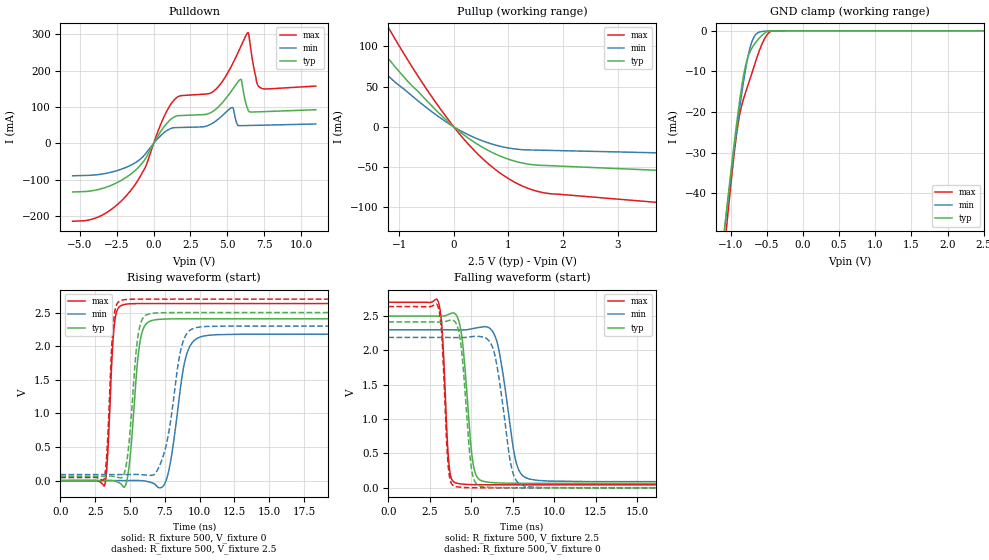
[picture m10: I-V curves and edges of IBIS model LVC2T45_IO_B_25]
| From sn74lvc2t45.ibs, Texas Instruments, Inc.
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[Model]   LVC2T45_IO_B_25
Model_type  I/O
Vinl=0.7
Vinh=1.7
Enable   Active-High
Vref =   0
Rref =   2000
Cref =   15p
Vmeas =   1.25
| variable   typ   min   max
C_comp   6.56pF   5.74pF   7.62pF
| C_pullup   9.85pF   6.87pF   11.31pF
| C_pulldown   9.91pF   7.23pF   14.14pF
| C_tri-state   6.56pF   5.74pF   7.62pF
[Temperature Range]   40   100   -40
| Ambient temperature   25   85   -40
[Voltage range]   2.5   2.3   2.7
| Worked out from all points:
|   slope of the pulldown table from 0 to 0.375 V, typ, clamps not added: 14.3 ohm
|   slope of the pullup table from 0 to 0.375 V, typ, clamps not added: 19.7 ohm
|   GND clamp passes 1 mA (typ) near -0.56 V on its own axis
|   rising waveform, R_fixture 500, V_fixture 0: 20-80 % time 560ps typ, 873ps min, 354ps max; typ from 0 V to 2.41 V
|   falling waveform, R_fixture 500, V_fixture 2.5: 20-80 % time 486ps typ, 790ps min, 307ps max; typ from 2.5 V to 0.066 V
|   rising waveform, R_fixture 500, V_fixture 2.5: 20-80 % time 563ps typ, 959ps min, 352ps max; typ from 0.066 V to 2.5 V
|   falling waveform, R_fixture 500, V_fixture 0: 20-80 % time 469ps typ, 751ps min, 297ps max; typ from 2.41 V to 0 V
[GND Clamp]
| LVC2T45_IO_B_25
|   Voltage   I(typ)   I(min)   I(max)
-5.5V     -897.8mA   -832.4mA   -1.016A
-1.085V   -48.68mA   -48.61mA   -53.3mA
-1.055V   -43.78mA   -44.08mA   -47.81mA
-960mV    -28.9mA    -30.22mA   -31.49mA
-910mV    -21.66mA   -23.34mA   -24.31mA
-860mV    -15.14mA   -16.88mA   -19.23mA
-795mV    -8.582mA   -9.485mA   -15.18mA
-730mV    -5.007mA   -3.989mA   -11.68mA
-680mV    -3.482mA   -1.588mA   -8.92mA
-555mV    -899.1uA   -138.8uA   -2.764mA
-465mV    -17.59uA   -54.37uA   -352.7uA
2.5V      23.44pA    61.78nA    334.7pA
[Pulldown]
| LVC2T45_IO_B_25
|   Voltage   I(typ)   I(min)   I(max)
-5.5V     -133.6mA   -89.06mA   -214.3mA
-3.72V    -126.6mA   -85.59mA   -201.8mA
-2.04V    -97.92mA   -68.67mA   -151.9mA
-585mV    -43.63mA   -30.26mA   -67.28mA
1.275V    69.58mA    42.39mA    113.9mA
4.1V      90.3mA     58.05mA    144.4mA
5.335V    147.4mA    98.53mA    217.2mA
5.885V    175.9mA    48.84mA    263.8mA
6.395V    93.62mA    49.21mA    304.7mA
6.98V     86.65mA    49.71mA    170.1mA
7.19V     86.94mA    49.89mA    154.5mA
11V       92.61mA    53.43mA    157.7mA
[Pullup]
| LVC2T45_IO_B_25
|   Voltage   I(typ)   I(min)   I(max)
-5.5V     517.6mA    406.8mA    724mA
-2.09V    163mA      124.1mA    233.8mA
-1.71V    128.4mA    97.02mA    185.2mA
-1.62V    120.4mA    90.83mA    174mA
-1.215V   85.94mA    64.16mA    125.1mA
-380mV    24.45mA    17.69mA    35.02mA
310mV     -16.09mA   -11.19mA   -24.72mA
640mV     -29.59mA   -20.05mA   -46.27mA
955mV     -39.02mA   -25.6mA    -62.27mA
1.565V    -47.61mA   -28.84mA   -80.57mA
7.625V    -65.25mA   -38.14mA   -115.7mA
11V       -75.18mA   -43.32mA   -134.9mA
[Ramp]
| LVC2T45_IO_B_25
| variable   typ   min   max
dV/dt_r   1.50/5.87E-10   1.37/9.20E-10   1.63/3.71E-10
dV/dt_f   1.49/5.04E-10   1.35/8.10E-10   1.62/3.22E-10
R_load = 500
[Rising Waveform]
| LVC2T45_IO_B_25
R_fixture =   500
C_fixture =   0
L_fixture =   0
V_fixture =   0
V_fixture_min = 0
V_fixture_max = 0
|   Time   V(typ)   V(min)   V(max)
0s        163.2pV    6.546nV    2.43nV
3.17ns    252uV      12.41uV    -72.42mV
3.86ns    -4.971mV   -22.41uV   2.297V
4.53ns    -96.59mV   7.492uV    2.618V
5.72ns    2.072V     767.6uV    2.634V
6.6ns     2.384V     -34.02mV   2.634V
7.6ns     2.405V     8.047mV    2.635V
8.98ns    2.407V     1.814V     2.635V
10.2ns    2.407V     2.147V     2.635V
50ns      2.408V     2.179V     2.635V
[Falling Waveform]
| LVC2T45_IO_B_25
R_fixture =   500
C_fixture =   0
L_fixture =   0
V_fixture =   2.5
V_fixture_min = 2.3
V_fixture_max = 2.7
|   Time   V(typ)   V(min)   V(max)
0s        2.5V       2.3V       2.7V
3.005ns   2.498V     2.3V       2.714V
3.665ns   2.527V     2.3V       316.9mV
4.18ns    2.473V     2.298V     65.12mV
5.105ns   357.9mV    2.318V     47.12mV
5.79ns    91.7mV     2.345V     45.34mV
6.595ns   72.34mV    2.086V     44.86mV
7.745ns   66.97mV    338.5mV    44.73mV
8.6ns     66.09mV    123.1mV    44.71mV
50ns      65.56mV    89.95mV    44.63mV
[Rising Waveform]
| LVC2T45_IO_B_25
R_fixture =   500
C_fixture =   0
L_fixture =   0
V_fixture =   2.5
V_fixture_min = 2.3
V_fixture_max = 2.7
|   Time   V(typ)   V(min)   V(max)
0s        65.53mV    89.9mV     44.61mV
3.145ns   65.71mV    89.92mV    25.25mV
3.815ns   62.36mV    89.89mV    2.379V
4.425ns   44.27mV    89.88mV    2.684V
4.865ns   444.4mV    90.5mV     2.696V
5.595ns   2.186V     90.57mV    2.7V
6.37ns    2.48V      77.27mV    2.7V
8.78ns    2.5V       2.05V      2.7V
9.705ns   2.5V       2.275V     2.7V
50ns      2.5V       2.3V       2.7V
[Falling Waveform]
| LVC2T45_IO_B_25
R_fixture =   500
C_fixture =   0
L_fixture =   0
V_fixture =   0
V_fixture_min = 0
V_fixture_max = 0
|   Time   V(typ)   V(min)   V(max)
0s        2.414V     2.188V     2.638V
3ns       2.412V     2.188V     2.635V
3.225ns   2.412V     2.188V     2.213V
3.63ns    2.434V     2.188V     265.1mV
4.09ns    2.389V     2.186V     17.65mV
5.015ns   275.2mV    2.2V       1.949mV
5.605ns   21.66mV    2.199V     621.4uV
7.505ns   898.3uV    223.4mV    111.8uV
8.26ns    366.1uV    23.93mV    97.02uV
50ns      26.08uV    40.91uV    13.92uV
